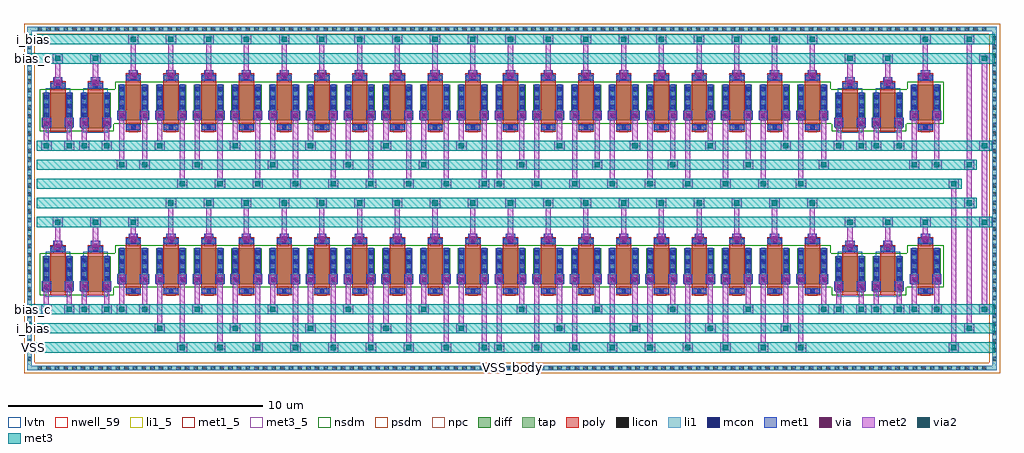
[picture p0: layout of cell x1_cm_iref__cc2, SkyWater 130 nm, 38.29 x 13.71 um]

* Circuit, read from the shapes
.subckt x1_cm_iref__cc2 VSS VSS_body bias_c i_bias
XM1 bias_c bias_c bias_c VSS_body sky130_fd_pr__nfet_01v8_lvt w=1.4 l=0.6 m=8
XM2 bias_c bias_c bias_c VSS_body sky130_fd_pr__nfet_01v8 w=1.4 l=0.6 m=2
XM3 i_bias i_bias i_bias VSS_body sky130_fd_pr__nfet_01v8 w=1.4 l=0.6 m=2
XM4 VSS i_bias i_bias VSS_body sky130_fd_pr__nfet_01v8 w=1.4 l=0.6 m=18
XM5 VSS i_bias bias_c VSS_body sky130_fd_pr__nfet_01v8 w=1.4 l=0.6 m=18
.ends

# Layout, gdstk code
from math import pi, radians
import gdstk
lib = gdstk.Library(unit=1e-6, precision=1e-09)
def R(c, l, rs):  # rectangles x0, y0, x1, y1
    for r in rs: c.add(gdstk.rectangle(r[:2], r[2:], *l))
def A(c, l, x, y, w, h, nx, ny, dx, dy):  # array of equal rectangles
    R(c, l, [(x+i*dx, y+j*dy, x+i*dx+w, y+j*dy+h) for i in range(nx) for j in range(ny)])
nwell_59 = (64, 59)
diff = (65, 20)
tap = (65, 44)
poly = (66, 20)
licon = (66, 44)
li1_5 = (67, 5)
li1 = (67, 20)
mcon = (67, 44)
met1_5 = (68, 5)
met1 = (68, 20)
via = (68, 44)
met2 = (69, 20)
via2 = (69, 44)
met3_5 = (70, 5)
met3 = (70, 20)
nsdm = (93, 44)
psdm = (94, 20)
npc = (95, 20)
lvtn = (125, 44)

sky130_fd_pr__nfet_01v8_ = lib.new_cell('sky130_fd_pr__nfet_01v8_KCM6UP')
R(sky130_fd_pr__nfet_01v8_, diff, [(-0.59,-0.7,0.59,0.7)])
R(sky130_fd_pr__nfet_01v8_, poly, [(-0.3,-1.14,0.3,1.14)])
A(sky130_fd_pr__nfet_01v8_, licon, -0.53, -0.595, 0.17, 0.17, 1, 4, 0, 0.34)
A(sky130_fd_pr__nfet_01v8_, licon, 0.36, -0.595, 0.17, 0.17, 1, 4, 0, 0.34)
R(sky130_fd_pr__nfet_01v8_, licon, [(-0.085,-1.06,0.085,-0.89), (-0.085,0.89,0.085,1.06)])
R(sky130_fd_pr__nfet_01v8_, li1, [(-0.3,-1.06,0.3,-0.89), (-0.53,-0.72,-0.36,0.72), (0.36,-0.72,0.53,0.72), (-0.3,0.89,0.3,1.06)])
A(sky130_fd_pr__nfet_01v8_, mcon, -0.53, -0.625, 0.17, 0.17, 1, 4, 0, 0.36)
A(sky130_fd_pr__nfet_01v8_, mcon, 0.36, -0.625, 0.17, 0.17, 1, 4, 0, 0.36)
R(sky130_fd_pr__nfet_01v8_, mcon, [(-0.085,-1.06,0.085,-0.89), (-0.085,0.89,0.085,1.06)])
R(sky130_fd_pr__nfet_01v8_, met1, [(-0.28,-1.09,0.28,-0.86), (-0.56,-0.7,-0.33,0.7), (0.33,-0.7,0.56,0.7), (-0.28,0.86,0.28,1.09)])
R(sky130_fd_pr__nfet_01v8_, nsdm, [(-0.715,-0.825,0.715,0.825)])
R(sky130_fd_pr__nfet_01v8_, npc, [(-0.185,-1.16,0.185,-0.79), (-0.185,0.79,0.185,1.16)])
sky130_fd_pr__nfet_01v8_.add(gdstk.Label('D', (-0.445,0), layer=67, texttype=5))
sky130_fd_pr__nfet_01v8_.add(gdstk.Label('S', (0.445,0), layer=67, texttype=5))
sky130_fd_pr__nfet_01v8_.add(gdstk.Label('G', (0,0.975), layer=67, texttype=5))

nfet_01v8_w1p4_l0p6_m2__ = lib.new_cell('nfet_01v8_W1p4_L0p6_m2__nf1_gboth_sdfull_ng')
R(nfet_01v8_w1p4_l0p6_m2__, nwell_59, [(0.05,1.09,0.15,1.19)])
R(nfet_01v8_w1p4_l0p6_m2__, met1_5, [(0.03,1.14,0.26,1.34), (0.92,1.14,1.15,1.34), (0.31,2,0.87,2.23)])
R(nfet_01v8_w1p4_l0p6_m2__, met1, [(0.03,1.14,0.26,1.34), (0.92,1.14,1.15,1.34), (0.31,2,0.87,2.23)])
nfet_01v8_w1p4_l0p6_m2__.add(gdstk.Reference(sky130_fd_pr__nfet_01v8_, (0.59,1.14)))
nfet_01v8_w1p4_l0p6_m2__.add(gdstk.Label('D', (0.145,1.24), layer=68, texttype=5))
nfet_01v8_w1p4_l0p6_m2__.add(gdstk.Label('S', (1.035,1.24), layer=68, texttype=5))
nfet_01v8_w1p4_l0p6_m2__.add(gdstk.Label('G', (0.59,2.115), layer=68, texttype=5))
nfet_01v8_w1p4_l0p6_m2__.add(gdstk.Label('B', (0.1,1.14), layer=64, texttype=59))

c_sky130_fd_pr__nfet_01v8_ = lib.new_cell('sky130_fd_pr__nfet_01v8_lvt_RUA5M6')
R(c_sky130_fd_pr__nfet_01v8_, diff, [(-0.59,-0.855,0.59,0.545)])
R(c_sky130_fd_pr__nfet_01v8_, poly, [(-0.3,-0.985,0.3,0.985)])
A(c_sky130_fd_pr__nfet_01v8_, licon, -0.53, -0.75, 0.17, 0.17, 1, 4, 0, 0.34)
A(c_sky130_fd_pr__nfet_01v8_, licon, 0.36, -0.75, 0.17, 0.17, 1, 4, 0, 0.34)
R(c_sky130_fd_pr__nfet_01v8_, licon, [(-0.085,0.735,0.085,0.905)])
R(c_sky130_fd_pr__nfet_01v8_, li1, [(-0.53,-0.875,-0.36,0.565), (0.36,-0.875,0.53,0.565), (-0.3,0.735,0.3,0.905)])
A(c_sky130_fd_pr__nfet_01v8_, mcon, -0.53, -0.78, 0.17, 0.17, 1, 4, 0, 0.36)
A(c_sky130_fd_pr__nfet_01v8_, mcon, 0.36, -0.78, 0.17, 0.17, 1, 4, 0, 0.36)
R(c_sky130_fd_pr__nfet_01v8_, mcon, [(-0.085,0.735,0.085,0.905)])
R(c_sky130_fd_pr__nfet_01v8_, met1, [(-0.56,-0.855,-0.33,0.545), (0.33,-0.855,0.56,0.545), (-0.28,0.705,0.28,0.935)])
R(c_sky130_fd_pr__nfet_01v8_, nsdm, [(-0.715,-0.98,0.715,0.67)])
R(c_sky130_fd_pr__nfet_01v8_, npc, [(-0.185,0.635,0.185,1.005)])
R(c_sky130_fd_pr__nfet_01v8_, lvtn, [(-0.48,-1.035,0.48,0.725)])
c_sky130_fd_pr__nfet_01v8_.add(gdstk.Label('D', (-0.445,-0.155), layer=67, texttype=5))
c_sky130_fd_pr__nfet_01v8_.add(gdstk.Label('S', (0.445,-0.155), layer=67, texttype=5))
c_sky130_fd_pr__nfet_01v8_.add(gdstk.Label('G', (0,0.82), layer=67, texttype=5))

nfet_01v8_lvt_w1p4_l0p6_ = lib.new_cell('nfet_01v8_lvt_W1p4_L0p6_m8__nf1_gtop_sdfull_ng')
R(nfet_01v8_lvt_w1p4_l0p6_, nwell_59, [(0.05,0.78,0.15,0.88)])
R(nfet_01v8_lvt_w1p4_l0p6_, met1_5, [(0.03,0.83,0.26,1.03), (0.92,0.83,1.15,1.03), (0.31,1.69,0.87,1.92)])
R(nfet_01v8_lvt_w1p4_l0p6_, met1, [(0.03,0.83,0.26,1.03), (0.92,0.83,1.15,1.03), (0.31,1.69,0.87,1.92)])
nfet_01v8_lvt_w1p4_l0p6_.add(gdstk.Reference(c_sky130_fd_pr__nfet_01v8_, (0.59,0.985)))
nfet_01v8_lvt_w1p4_l0p6_.add(gdstk.Label('D', (0.145,0.93), layer=68, texttype=5))
nfet_01v8_lvt_w1p4_l0p6_.add(gdstk.Label('S', (1.035,0.93), layer=68, texttype=5))
nfet_01v8_lvt_w1p4_l0p6_.add(gdstk.Label('G', (0.59,1.805), layer=68, texttype=5))
nfet_01v8_lvt_w1p4_l0p6_.add(gdstk.Label('B', (0.1,0.83), layer=64, texttype=59))

nfet_01v8_w1p4_l0p6_m18_ = lib.new_cell('nfet_01v8_W1p4_L0p6_m18__nf1_gboth_sdfull_ng')
R(nfet_01v8_w1p4_l0p6_m18_, nwell_59, [(0.05,1.09,0.15,1.19)])
R(nfet_01v8_w1p4_l0p6_m18_, met1_5, [(0.03,1.14,0.26,1.34), (0.92,1.14,1.15,1.34), (0.31,2,0.87,2.23)])
R(nfet_01v8_w1p4_l0p6_m18_, met1, [(0.03,1.14,0.26,1.34), (0.92,1.14,1.15,1.34), (0.31,2,0.87,2.23)])
nfet_01v8_w1p4_l0p6_m18_.add(gdstk.Reference(sky130_fd_pr__nfet_01v8_, (0.59,1.14)))
nfet_01v8_w1p4_l0p6_m18_.add(gdstk.Label('D', (0.145,1.24), layer=68, texttype=5))
nfet_01v8_w1p4_l0p6_m18_.add(gdstk.Label('S', (1.035,1.24), layer=68, texttype=5))
nfet_01v8_w1p4_l0p6_m18_.add(gdstk.Label('G', (0.59,2.115), layer=68, texttype=5))
nfet_01v8_w1p4_l0p6_m18_.add(gdstk.Label('B', (0.1,1.14), layer=64, texttype=59))

x1_cm_iref__cc2 = lib.new_cell('x1_cm_iref__cc2')
R(x1_cm_iref__cc2, tap, [(-0.485,-2.935,37.555,-2.765), (-0.485,-2.765,-0.315,10.355), (37.385,-2.765,37.555,10.355), (-0.485,10.355,37.555,10.525)])
A(x1_cm_iref__cc2, licon, -0.08, -2.935, 0.17, 0.17, 110, 2, 0.34, 13.29)
A(x1_cm_iref__cc2, licon, -0.485, -2.58, 0.17, 0.17, 1, 38, 0, 0.34)
A(x1_cm_iref__cc2, licon, 37.385, -2.58, 0.17, 0.17, 1, 38, 0, 0.34)
R(x1_cm_iref__cc2, li1_5, [(18.485,-2.9,18.585,-2.8)])
R(x1_cm_iref__cc2, li1, [(-0.485,-2.935,37.555,-2.765), (-0.485,-2.765,-0.315,10.355), (37.385,-2.765,37.555,10.355), (-0.485,10.355,37.555,10.525)])
A(x1_cm_iref__cc2, met1, 3.495, 2.05, 0.36, 0.36, 19, 2, 1.48, 6.42)
R(x1_cm_iref__cc2, met1, [(0.09,0.18,0.45,0.54), (0.98,0.18,1.34,0.54), (1.57,0.18,1.93,0.54), (2.46,0.18,2.82,0.54), (31.17,0.18,31.53,0.54), (32.06,0.18,32.42,0.54), (32.65,0.18,33.01,0.54), (33.54,0.18,33.9,0.54), (3.05,0.46,3.41,0.82), (3.94,0.46,4.3,0.82), (4.53,0.46,4.89,0.82), (5.42,0.46,5.78,0.82), (6.01,0.46,6.37,0.82), (6.9,0.46,7.26,0.82), (7.49,0.46,7.85,0.82), (8.38,0.46,8.74,0.82), (8.97,0.46,9.33,0.82), (9.86,0.46,10.22,0.82), (10.45,0.46,10.81,0.82), (11.34,0.46,11.7,0.82), (11.93,0.46,12.29,0.82), (12.82,0.46,13.18,0.82), (13.41,0.46,13.77,0.82), (14.3,0.46,14.66,0.82), (14.89,0.46,15.25,0.82), (15.78,0.46,16.14,0.82), (16.37,0.46,16.73,0.82), (17.26,0.46,17.62,0.82), (17.85,0.46,18.21,0.82), (18.74,0.46,19.1,0.82), (19.33,0.46,19.69,0.82), (20.22,0.46,20.58,0.82), (20.81,0.46,21.17,0.82), (21.7,0.46,22.06,0.82), (22.29,0.46,22.65,0.82), (23.18,0.46,23.54,0.82), (23.77,0.46,24.13,0.82), (24.66,0.46,25.02,0.82), (25.25,0.46,25.61,0.82), (26.14,0.46,26.5,0.82), (26.73,0.46,27.09,0.82), (27.62,0.46,27.98,0.82), (28.21,0.46,28.57,0.82), (29.1,0.46,29.46,0.82), (29.69,0.46,30.05,0.82), (30.58,0.46,30.94,0.82), (34.13,0.46,34.49,0.82), (35.02,0.46,35.38,0.82), (0.535,1.77,0.895,2.13), (2.015,1.77,2.375,2.13), (31.615,1.77,31.975,2.13), (33.095,1.77,33.455,2.13), (34.575,2.05,34.935,2.41), (0.09,6.6,0.45,6.96), (0.98,6.6,1.34,6.96), (1.57,6.6,1.93,6.96), (2.46,6.6,2.82,6.96), (31.17,6.6,31.53,6.96), (32.06,6.6,32.42,6.96), (32.65,6.6,33.01,6.96), (33.54,6.6,33.9,6.96), (3.05,6.88,3.41,7.24), (3.94,6.88,4.3,7.24), (4.53,6.88,4.89,7.24), (5.42,6.88,5.78,7.24), (6.01,6.88,6.37,7.24), (6.9,6.88,7.26,7.24), (7.49,6.88,7.85,7.24), (8.38,6.88,8.74,7.24), (8.97,6.88,9.33,7.24), (9.86,6.88,10.22,7.24), (10.45,6.88,10.81,7.24), (11.34,6.88,11.7,7.24), (11.93,6.88,12.29,7.24), (12.82,6.88,13.18,7.24), (13.41,6.88,13.77,7.24), (14.3,6.88,14.66,7.24), (14.89,6.88,15.25,7.24), (15.78,6.88,16.14,7.24), (16.37,6.88,16.73,7.24), (17.26,6.88,17.62,7.24), (17.85,6.88,18.21,7.24), (18.74,6.88,19.1,7.24), (19.33,6.88,19.69,7.24), (20.22,6.88,20.58,7.24), (20.81,6.88,21.17,7.24), (21.7,6.88,22.06,7.24), (22.29,6.88,22.65,7.24), (23.18,6.88,23.54,7.24), (23.77,6.88,24.13,7.24), (24.66,6.88,25.02,7.24), (25.25,6.88,25.61,7.24), (26.14,6.88,26.5,7.24), (26.73,6.88,27.09,7.24), (27.62,6.88,27.98,7.24), (28.21,6.88,28.57,7.24), (29.1,6.88,29.46,7.24), (29.69,6.88,30.05,7.24), (30.58,6.88,30.94,7.24), (34.13,6.88,34.49,7.24), (35.02,6.88,35.38,7.24), (0.535,8.19,0.895,8.55), (2.015,8.19,2.375,8.55), (31.615,8.19,31.975,8.55), (33.095,8.19,33.455,8.55), (34.575,8.47,34.935,8.83)])
A(x1_cm_iref__cc2, via, 3.6, 2.155, 0.15, 0.15, 19, 2, 1.48, 6.42)
R(x1_cm_iref__cc2, via, [(0.195,0.285,0.345,0.435), (1.085,0.285,1.235,0.435), (1.675,0.285,1.825,0.435), (2.565,0.285,2.715,0.435), (31.275,0.285,31.425,0.435), (32.165,0.285,32.315,0.435), (32.755,0.285,32.905,0.435), (33.645,0.285,33.795,0.435), (3.155,0.565,3.305,0.715), (4.045,0.565,4.195,0.715), (4.635,0.565,4.785,0.715), (5.525,0.565,5.675,0.715), (6.115,0.565,6.265,0.715), (7.005,0.565,7.155,0.715), (7.595,0.565,7.745,0.715), (8.485,0.565,8.635,0.715), (9.075,0.565,9.225,0.715), (9.965,0.565,10.115,0.715), (10.555,0.565,10.705,0.715), (11.445,0.565,11.595,0.715), (12.035,0.565,12.185,0.715), (12.925,0.565,13.075,0.715), (13.515,0.565,13.665,0.715), (14.405,0.565,14.555,0.715), (14.995,0.565,15.145,0.715), (15.885,0.565,16.035,0.715), (16.475,0.565,16.625,0.715), (17.365,0.565,17.515,0.715), (17.955,0.565,18.105,0.715), (18.845,0.565,18.995,0.715), (19.435,0.565,19.585,0.715), (20.325,0.565,20.475,0.715), (20.915,0.565,21.065,0.715), (21.805,0.565,21.955,0.715), (22.395,0.565,22.545,0.715), (23.285,0.565,23.435,0.715), (23.875,0.565,24.025,0.715), (24.765,0.565,24.915,0.715), (25.355,0.565,25.505,0.715), (26.245,0.565,26.395,0.715), (26.835,0.565,26.985,0.715), (27.725,0.565,27.875,0.715), (28.315,0.565,28.465,0.715), (29.205,0.565,29.355,0.715), (29.795,0.565,29.945,0.715), (30.685,0.565,30.835,0.715), (34.235,0.565,34.385,0.715), (35.125,0.565,35.275,0.715), (0.64,1.875,0.79,2.025), (2.12,1.875,2.27,2.025), (31.72,1.875,31.87,2.025), (33.2,1.875,33.35,2.025), (34.68,2.155,34.83,2.305), (0.195,6.705,0.345,6.855), (1.085,6.705,1.235,6.855), (1.675,6.705,1.825,6.855), (2.565,6.705,2.715,6.855), (31.275,6.705,31.425,6.855), (32.165,6.705,32.315,6.855), (32.755,6.705,32.905,6.855), (33.645,6.705,33.795,6.855), (3.155,6.985,3.305,7.135), (4.045,6.985,4.195,7.135), (4.635,6.985,4.785,7.135), (5.525,6.985,5.675,7.135), (6.115,6.985,6.265,7.135), (7.005,6.985,7.155,7.135), (7.595,6.985,7.745,7.135), (8.485,6.985,8.635,7.135), (9.075,6.985,9.225,7.135), (9.965,6.985,10.115,7.135), (10.555,6.985,10.705,7.135), (11.445,6.985,11.595,7.135), (12.035,6.985,12.185,7.135), (12.925,6.985,13.075,7.135), (13.515,6.985,13.665,7.135), (14.405,6.985,14.555,7.135), (14.995,6.985,15.145,7.135), (15.885,6.985,16.035,7.135), (16.475,6.985,16.625,7.135), (17.365,6.985,17.515,7.135), (17.955,6.985,18.105,7.135), (18.845,6.985,18.995,7.135), (19.435,6.985,19.585,7.135), (20.325,6.985,20.475,7.135), (20.915,6.985,21.065,7.135), (21.805,6.985,21.955,7.135), (22.395,6.985,22.545,7.135), (23.285,6.985,23.435,7.135), (23.875,6.985,24.025,7.135), (24.765,6.985,24.915,7.135), (25.355,6.985,25.505,7.135), (26.245,6.985,26.395,7.135), (26.835,6.985,26.985,7.135), (27.725,6.985,27.875,7.135), (28.315,6.985,28.465,7.135), (29.205,6.985,29.355,7.135), (29.795,6.985,29.945,7.135), (30.685,6.985,30.835,7.135), (34.235,6.985,34.385,7.135), (35.125,6.985,35.275,7.135), (0.64,8.295,0.79,8.445), (2.12,8.295,2.27,8.445), (31.72,8.295,31.87,8.445), (33.2,8.295,33.35,8.445), (34.68,8.575,34.83,8.725)])
A(x1_cm_iref__cc2, met2, 5.4, -2.25, 0.4, 0.4, 9, 2, 1.48, 6.42)
A(x1_cm_iref__cc2, met2, 17.83, -2.25, 0.4, 0.4, 9, 2, 1.48, 6.42)
A(x1_cm_iref__cc2, met2, 5.5, -1.85, 0.2, 2.33, 9, 2, 1.48, 6.42)
A(x1_cm_iref__cc2, met2, 17.93, -1.85, 0.2, 2.33, 9, 2, 1.48, 6.42)
A(x1_cm_iref__cc2, met2, 4.51, -1.5, 0.4, 0.4, 5, 2, 2.96, 7.17)
A(x1_cm_iref__cc2, met2, 20.2, -1.5, 0.4, 0.4, 4, 2, 2.96, 7.17)
A(x1_cm_iref__cc2, met2, 4.61, -1.1, 0.2, 1.58, 5, 1, 2.96, 0)
A(x1_cm_iref__cc2, met2, 20.3, -1.1, 0.2, 1.58, 4, 1, 2.96, 0)
A(x1_cm_iref__cc2, met2, 5.99, -0.75, 0.4, 0.4, 4, 2, 2.96, 5.67)
A(x1_cm_iref__cc2, met2, 18.72, -0.75, 0.4, 0.4, 5, 2, 2.96, 5.67)
A(x1_cm_iref__cc2, met2, 6.09, -0.35, 0.2, 0.83, 4, 1, 2.96, 0)
A(x1_cm_iref__cc2, met2, 18.82, -0.35, 0.2, 0.83, 5, 1, 2.96, 0)
A(x1_cm_iref__cc2, met2, 3.545, 2.07, 0.26, 0.32, 19, 2, 1.48, 6.42)
A(x1_cm_iref__cc2, met2, 5.055, 2.39, 0.2, 1.03, 18, 1, 1.48, 0)
A(x1_cm_iref__cc2, met2, 0.515, 2.67, 0.4, 0.4, 3, 1, 1.48, 0)
A(x1_cm_iref__cc2, met2, 31.595, 2.67, 0.4, 0.4, 3, 1, 1.48, 0)
A(x1_cm_iref__cc2, met2, 4.955, 3.42, 0.4, 0.4, 18, 1, 1.48, 0)
A(x1_cm_iref__cc2, met2, 6.09, 5.32, 0.2, 1.58, 4, 1, 2.96, 0)
A(x1_cm_iref__cc2, met2, 18.82, 5.32, 0.2, 1.58, 5, 1, 2.96, 0)
A(x1_cm_iref__cc2, met2, 4.61, 6.07, 0.2, 0.83, 5, 1, 2.96, 0)
A(x1_cm_iref__cc2, met2, 20.3, 6.07, 0.2, 0.83, 4, 1, 2.96, 0)
A(x1_cm_iref__cc2, met2, 3.575, 8.81, 0.2, 1.03, 19, 1, 1.48, 0)
A(x1_cm_iref__cc2, met2, 3.475, 9.84, 0.4, 0.4, 19, 1, 1.48, 0)
R(x1_cm_iref__cc2, met2, [(35.67,-2.25,36.07,-1.85), (35.77,-1.85,35.97,4.17), (36.27,-1.5,36.67,-1.1), (36.37,-1.1,36.57,3.42), (0.07,-0.75,0.47,-0.35), (0.96,-0.75,1.36,-0.35), (1.55,-0.75,1.95,-0.35), (2.44,-0.75,2.84,-0.35), (3.03,-0.75,3.43,-0.35), (3.92,-0.75,4.32,-0.35), (31.15,-0.75,31.55,-0.35), (32.04,-0.75,32.44,-0.35), (32.63,-0.75,33.03,-0.35), (33.52,-0.75,33.92,-0.35), (34.11,-0.75,34.51,-0.35), (35,-0.75,35.4,-0.35), (36.87,-0.75,37.27,-0.35), (0.17,-0.35,0.37,0.2), (1.06,-0.35,1.26,0.2), (1.65,-0.35,1.85,0.2), (2.54,-0.35,2.74,0.2), (3.13,-0.35,3.33,0.48), (4.02,-0.35,4.22,0.48), (31.25,-0.35,31.45,0.2), (32.14,-0.35,32.34,0.2), (32.73,-0.35,32.93,0.2), (33.62,-0.35,33.82,0.2), (34.21,-0.35,34.41,0.48), (35.1,-0.35,35.3,0.48), (36.97,-0.35,37.17,2.67), (0.14,0.2,0.4,0.52), (1.03,0.2,1.29,0.52), (1.62,0.2,1.88,0.52), (2.51,0.2,2.77,0.52), (31.22,0.2,31.48,0.52), (32.11,0.2,32.37,0.52), (32.7,0.2,32.96,0.52), (33.59,0.2,33.85,0.52), (3.1,0.48,3.36,0.8), (3.99,0.48,4.25,0.8), (4.58,0.48,4.84,0.8), (5.47,0.48,5.73,0.8), (6.06,0.48,6.32,0.8), (6.95,0.48,7.21,0.8), (7.54,0.48,7.8,0.8), (8.43,0.48,8.69,0.8), (9.02,0.48,9.28,0.8), (9.91,0.48,10.17,0.8), (10.5,0.48,10.76,0.8), (11.39,0.48,11.65,0.8), (11.98,0.48,12.24,0.8), (12.87,0.48,13.13,0.8), (13.46,0.48,13.72,0.8), (14.35,0.48,14.61,0.8), (14.94,0.48,15.2,0.8), (15.83,0.48,16.09,0.8), (16.42,0.48,16.68,0.8), (17.31,0.48,17.57,0.8), (17.9,0.48,18.16,0.8), (18.79,0.48,19.05,0.8), (19.38,0.48,19.64,0.8), (20.27,0.48,20.53,0.8), (20.86,0.48,21.12,0.8), (21.75,0.48,22.01,0.8), (22.34,0.48,22.6,0.8), (23.23,0.48,23.49,0.8), (23.82,0.48,24.08,0.8), (24.71,0.48,24.97,0.8), (25.3,0.48,25.56,0.8), (26.19,0.48,26.45,0.8), (26.78,0.48,27.04,0.8), (27.67,0.48,27.93,0.8), (28.26,0.48,28.52,0.8), (29.15,0.48,29.41,0.8), (29.74,0.48,30,0.8), (30.63,0.48,30.89,0.8), (34.18,0.48,34.44,0.8), (35.07,0.48,35.33,0.8), (0.585,1.79,0.845,2.11), (2.065,1.79,2.325,2.11), (31.665,1.79,31.925,2.11), (33.145,1.79,33.405,2.11), (34.625,2.07,34.885,2.39), (0.615,2.11,0.815,2.67), (2.095,2.11,2.295,2.67), (31.695,2.11,31.895,2.67), (33.175,2.11,33.375,2.67), (3.575,2.39,3.775,2.67), (34.655,2.39,34.855,2.67), (36.87,2.67,37.27,3.07), (36.97,3.07,37.17,5.67), (36.27,3.42,36.67,3.82), (36.37,3.82,36.57,4.92), (35.67,4.17,36.07,4.57), (3.03,4.92,3.43,5.32), (3.92,4.92,4.32,5.32), (34.11,4.92,34.51,5.32), (35,4.92,35.4,5.32), (36.27,4.92,36.67,5.32), (3.13,5.32,3.33,6.9), (4.02,5.32,4.22,6.9), (34.21,5.32,34.41,6.9), (35.1,5.32,35.3,6.9), (36.37,5.32,36.57,9.84), (0.07,5.67,0.47,6.07), (0.96,5.67,1.36,6.07), (1.55,5.67,1.95,6.07), (2.44,5.67,2.84,6.07), (31.15,5.67,31.55,6.07), (32.04,5.67,32.44,6.07), (32.63,5.67,33.03,6.07), (33.52,5.67,33.92,6.07), (36.87,5.67,37.27,6.07), (0.17,6.07,0.37,6.62), (1.06,6.07,1.26,6.62), (1.65,6.07,1.85,6.62), (2.54,6.07,2.74,6.62), (31.25,6.07,31.45,6.62), (32.14,6.07,32.34,6.62), (32.73,6.07,32.93,6.62), (33.62,6.07,33.82,6.62), (36.97,6.07,37.17,9.09), (0.14,6.62,0.4,6.94), (1.03,6.62,1.29,6.94), (1.62,6.62,1.88,6.94), (2.51,6.62,2.77,6.94), (31.22,6.62,31.48,6.94), (32.11,6.62,32.37,6.94), (32.7,6.62,32.96,6.94), (33.59,6.62,33.85,6.94), (3.1,6.9,3.36,7.22), (3.99,6.9,4.25,7.22), (4.58,6.9,4.84,7.22), (5.47,6.9,5.73,7.22), (6.06,6.9,6.32,7.22), (6.95,6.9,7.21,7.22), (7.54,6.9,7.8,7.22), (8.43,6.9,8.69,7.22), (9.02,6.9,9.28,7.22), (9.91,6.9,10.17,7.22), (10.5,6.9,10.76,7.22), (11.39,6.9,11.65,7.22), (11.98,6.9,12.24,7.22), (12.87,6.9,13.13,7.22), (13.46,6.9,13.72,7.22), (14.35,6.9,14.61,7.22), (14.94,6.9,15.2,7.22), (15.83,6.9,16.09,7.22), (16.42,6.9,16.68,7.22), (17.31,6.9,17.57,7.22), (17.9,6.9,18.16,7.22), (18.79,6.9,19.05,7.22), (19.38,6.9,19.64,7.22), (20.27,6.9,20.53,7.22), (20.86,6.9,21.12,7.22), (21.75,6.9,22.01,7.22), (22.34,6.9,22.6,7.22), (23.23,6.9,23.49,7.22), (23.82,6.9,24.08,7.22), (24.71,6.9,24.97,7.22), (25.3,6.9,25.56,7.22), (26.19,6.9,26.45,7.22), (26.78,6.9,27.04,7.22), (27.67,6.9,27.93,7.22), (28.26,6.9,28.52,7.22), (29.15,6.9,29.41,7.22), (29.74,6.9,30,7.22), (30.63,6.9,30.89,7.22), (34.18,6.9,34.44,7.22), (35.07,6.9,35.33,7.22), (0.585,8.21,0.845,8.53), (2.065,8.21,2.325,8.53), (31.665,8.21,31.925,8.53), (33.145,8.21,33.405,8.53), (34.625,8.49,34.885,8.81), (0.615,8.53,0.815,9.09), (2.095,8.53,2.295,9.09), (31.695,8.53,31.895,9.09), (33.175,8.53,33.375,9.09), (34.655,8.81,34.855,9.84), (0.515,9.09,0.915,9.49), (1.995,9.09,2.395,9.49), (31.595,9.09,31.995,9.49), (33.075,9.09,33.475,9.49), (36.87,9.09,37.27,9.49), (34.555,9.84,34.955,10.24), (36.27,9.84,36.67,10.24)])
A(x1_cm_iref__cc2, via2, 5.5, -2.15, 0.2, 0.2, 9, 2, 1.48, 6.42)
A(x1_cm_iref__cc2, via2, 17.93, -2.15, 0.2, 0.2, 9, 2, 1.48, 6.42)
A(x1_cm_iref__cc2, via2, 4.61, -1.4, 0.2, 0.2, 5, 2, 2.96, 7.17)
A(x1_cm_iref__cc2, via2, 20.3, -1.4, 0.2, 0.2, 4, 2, 2.96, 7.17)
A(x1_cm_iref__cc2, via2, 6.09, -0.65, 0.2, 0.2, 4, 2, 2.96, 5.67)
A(x1_cm_iref__cc2, via2, 18.82, -0.65, 0.2, 0.2, 5, 2, 2.96, 5.67)
A(x1_cm_iref__cc2, via2, 0.615, 2.77, 0.2, 0.2, 3, 1, 1.48, 0)
A(x1_cm_iref__cc2, via2, 31.695, 2.77, 0.2, 0.2, 3, 1, 1.48, 0)
A(x1_cm_iref__cc2, via2, 5.055, 3.52, 0.2, 0.2, 18, 1, 1.48, 0)
A(x1_cm_iref__cc2, via2, 3.575, 9.94, 0.2, 0.2, 19, 1, 1.48, 0)
R(x1_cm_iref__cc2, via2, [(35.77,-2.15,35.97,-1.95), (36.37,-1.4,36.57,-1.2), (0.17,-0.65,0.37,-0.45), (1.06,-0.65,1.26,-0.45), (1.65,-0.65,1.85,-0.45), (2.54,-0.65,2.74,-0.45), (3.13,-0.65,3.33,-0.45), (4.02,-0.65,4.22,-0.45), (31.25,-0.65,31.45,-0.45), (32.14,-0.65,32.34,-0.45), (32.73,-0.65,32.93,-0.45), (33.62,-0.65,33.82,-0.45), (34.21,-0.65,34.41,-0.45), (35.1,-0.65,35.3,-0.45), (36.97,-0.65,37.17,-0.45), (36.97,2.77,37.17,2.97), (36.37,3.52,36.57,3.72), (35.77,4.27,35.97,4.47), (3.13,5.02,3.33,5.22), (4.02,5.02,4.22,5.22), (34.21,5.02,34.41,5.22), (35.1,5.02,35.3,5.22), (36.37,5.02,36.57,5.22), (0.17,5.77,0.37,5.97), (1.06,5.77,1.26,5.97), (1.65,5.77,1.85,5.97), (2.54,5.77,2.74,5.97), (31.25,5.77,31.45,5.97), (32.14,5.77,32.34,5.97), (32.73,5.77,32.93,5.97), (33.62,5.77,33.82,5.97), (36.97,5.77,37.17,5.97), (0.615,9.19,0.815,9.39), (2.095,9.19,2.295,9.39), (31.695,9.19,31.895,9.39), (33.175,9.19,33.375,9.39), (36.97,9.19,37.17,9.39), (34.655,9.94,34.855,10.14), (36.37,9.94,36.57,10.14)])
A(x1_cm_iref__cc2, met3_5, -0.3, -2.1, 0.1, 0.1, 1, 3, 0, 0.75)
R(x1_cm_iref__cc2, met3_5, [(-0.3,9.24,-0.2,9.34), (-0.3,9.99,-0.2,10.09)])
A(x1_cm_iref__cc2, met3, -0.4, -2.25, 37.87, 0.4, 1, 3, 0, 0.75)
R(x1_cm_iref__cc2, met3, [(-0.1,2.67,37.37,3.07), (-0.1,3.42,36.77,3.82), (-0.1,4.17,36.17,4.57), (-0.1,4.92,36.77,5.32), (-0.1,5.67,37.37,6.07), (-0.4,9.09,37.47,9.49), (-0.4,9.84,37.47,10.24)])
A(x1_cm_iref__cc2, nsdm, 4.395, 0.315, 0.05, 1.65, 18, 2, 1.48, 6.42)
R(x1_cm_iref__cc2, nsdm, [(1.435,0.005,1.485,1.655), (32.515,0.005,32.565,1.655), (2.915,0.315,2.965,1.655), (31.035,0.315,31.085,1.655), (33.995,0.315,34.045,1.655), (1.435,6.425,1.485,8.075), (32.515,6.425,32.565,8.075), (2.915,6.735,2.965,8.075), (31.035,6.735,31.085,8.075), (33.995,6.735,34.045,8.075)])
R(x1_cm_iref__cc2, psdm, [(-0.61,-3.06,37.68,-2.64), (-0.61,-2.64,-0.19,10.23), (37.26,-2.64,37.68,10.23), (-0.61,10.23,37.68,10.65)])
x1_cm_iref__cc2.add(gdstk.Reference(nfet_01v8_w1p4_l0p6_m2__, (34.17,6.42)))
x1_cm_iref__cc2.add(gdstk.Reference(nfet_01v8_lvt_w1p4_l0p6_, (32.69,6.42)))
x1_cm_iref__cc2.add(gdstk.Reference(nfet_01v8_lvt_w1p4_l0p6_, (31.21,6.42)))
x1_cm_iref__cc2.add(gdstk.Reference(nfet_01v8_w1p4_l0p6_m18_, (30.91,6.42), rotation=pi, x_reflection=True))
x1_cm_iref__cc2.add(gdstk.Reference(nfet_01v8_w1p4_l0p6_m18_, (29.43,6.42), rotation=pi, x_reflection=True))
x1_cm_iref__cc2.add(gdstk.Reference(nfet_01v8_w1p4_l0p6_m18_, (27.95,6.42), rotation=pi, x_reflection=True))
x1_cm_iref__cc2.add(gdstk.Reference(nfet_01v8_w1p4_l0p6_m18_, (26.47,6.42), rotation=pi, x_reflection=True))
x1_cm_iref__cc2.add(gdstk.Reference(nfet_01v8_w1p4_l0p6_m18_, (24.99,6.42), rotation=pi, x_reflection=True))
x1_cm_iref__cc2.add(gdstk.Reference(nfet_01v8_w1p4_l0p6_m18_, (23.51,6.42), rotation=pi, x_reflection=True))
x1_cm_iref__cc2.add(gdstk.Reference(nfet_01v8_w1p4_l0p6_m18_, (22.03,6.42), rotation=pi, x_reflection=True))
x1_cm_iref__cc2.add(gdstk.Reference(nfet_01v8_w1p4_l0p6_m18_, (20.55,6.42), rotation=pi, x_reflection=True))
x1_cm_iref__cc2.add(gdstk.Reference(nfet_01v8_w1p4_l0p6_m18_, (19.07,6.42), rotation=pi, x_reflection=True))
x1_cm_iref__cc2.add(gdstk.Reference(nfet_01v8_w1p4_l0p6_m18_, (16.41,6.42)))
x1_cm_iref__cc2.add(gdstk.Reference(nfet_01v8_w1p4_l0p6_m18_, (14.93,6.42)))
x1_cm_iref__cc2.add(gdstk.Reference(nfet_01v8_w1p4_l0p6_m18_, (13.45,6.42)))
x1_cm_iref__cc2.add(gdstk.Reference(nfet_01v8_w1p4_l0p6_m18_, (11.97,6.42)))
x1_cm_iref__cc2.add(gdstk.Reference(nfet_01v8_w1p4_l0p6_m18_, (10.49,6.42)))
x1_cm_iref__cc2.add(gdstk.Reference(nfet_01v8_w1p4_l0p6_m18_, (9.01,6.42)))
x1_cm_iref__cc2.add(gdstk.Reference(nfet_01v8_w1p4_l0p6_m18_, (7.53,6.42)))
x1_cm_iref__cc2.add(gdstk.Reference(nfet_01v8_w1p4_l0p6_m18_, (6.05,6.42)))
x1_cm_iref__cc2.add(gdstk.Reference(nfet_01v8_w1p4_l0p6_m18_, (4.57,6.42)))
x1_cm_iref__cc2.add(gdstk.Reference(nfet_01v8_w1p4_l0p6_m2__, (3.09,6.42)))
x1_cm_iref__cc2.add(gdstk.Reference(nfet_01v8_lvt_w1p4_l0p6_, (1.61,6.42)))
x1_cm_iref__cc2.add(gdstk.Reference(nfet_01v8_lvt_w1p4_l0p6_, (0.13,6.42)))
x1_cm_iref__cc2.add(gdstk.Reference(nfet_01v8_w1p4_l0p6_m2__, (34.17,0)))
x1_cm_iref__cc2.add(gdstk.Reference(nfet_01v8_lvt_w1p4_l0p6_, (32.69,0)))
x1_cm_iref__cc2.add(gdstk.Reference(nfet_01v8_lvt_w1p4_l0p6_, (31.21,0)))
x1_cm_iref__cc2.add(gdstk.Reference(nfet_01v8_w1p4_l0p6_m18_, (30.91,0), rotation=pi, x_reflection=True))
x1_cm_iref__cc2.add(gdstk.Reference(nfet_01v8_w1p4_l0p6_m18_, (29.43,0), rotation=pi, x_reflection=True))
x1_cm_iref__cc2.add(gdstk.Reference(nfet_01v8_w1p4_l0p6_m18_, (27.95,0), rotation=pi, x_reflection=True))
x1_cm_iref__cc2.add(gdstk.Reference(nfet_01v8_w1p4_l0p6_m18_, (26.47,0), rotation=pi, x_reflection=True))
x1_cm_iref__cc2.add(gdstk.Reference(nfet_01v8_w1p4_l0p6_m18_, (24.99,0), rotation=pi, x_reflection=True))
x1_cm_iref__cc2.add(gdstk.Reference(nfet_01v8_w1p4_l0p6_m18_, (23.51,0), rotation=pi, x_reflection=True))
x1_cm_iref__cc2.add(gdstk.Reference(nfet_01v8_w1p4_l0p6_m18_, (22.03,0), rotation=pi, x_reflection=True))
x1_cm_iref__cc2.add(gdstk.Reference(nfet_01v8_w1p4_l0p6_m18_, (20.55,0), rotation=pi, x_reflection=True))
x1_cm_iref__cc2.add(gdstk.Reference(nfet_01v8_w1p4_l0p6_m18_, (19.07,0), rotation=pi, x_reflection=True))
x1_cm_iref__cc2.add(gdstk.Reference(nfet_01v8_w1p4_l0p6_m18_, (16.41,0)))
x1_cm_iref__cc2.add(gdstk.Reference(nfet_01v8_w1p4_l0p6_m18_, (14.93,0)))
x1_cm_iref__cc2.add(gdstk.Reference(nfet_01v8_w1p4_l0p6_m18_, (13.45,0)))
x1_cm_iref__cc2.add(gdstk.Reference(nfet_01v8_w1p4_l0p6_m18_, (11.97,0)))
x1_cm_iref__cc2.add(gdstk.Reference(nfet_01v8_w1p4_l0p6_m18_, (10.49,0)))
x1_cm_iref__cc2.add(gdstk.Reference(nfet_01v8_w1p4_l0p6_m18_, (9.01,0)))
x1_cm_iref__cc2.add(gdstk.Reference(nfet_01v8_w1p4_l0p6_m18_, (7.53,0)))
x1_cm_iref__cc2.add(gdstk.Reference(nfet_01v8_w1p4_l0p6_m18_, (6.05,0)))
x1_cm_iref__cc2.add(gdstk.Reference(nfet_01v8_w1p4_l0p6_m18_, (4.57,0)))
x1_cm_iref__cc2.add(gdstk.Reference(nfet_01v8_w1p4_l0p6_m2__, (3.09,0)))
x1_cm_iref__cc2.add(gdstk.Reference(nfet_01v8_lvt_w1p4_l0p6_, (1.61,0)))
x1_cm_iref__cc2.add(gdstk.Reference(nfet_01v8_lvt_w1p4_l0p6_, (0.13,0)))
x1_cm_iref__cc2.add(gdstk.Label('bias_c', (-0.25,9.29), layer=70, texttype=5))
x1_cm_iref__cc2.add(gdstk.Label('i_bias', (-0.25,10.04), layer=70, texttype=5))
x1_cm_iref__cc2.add(gdstk.Label('bias_c', (-0.25,-0.55), layer=70, texttype=5))
x1_cm_iref__cc2.add(gdstk.Label('i_bias', (-0.25,-1.3), layer=70, texttype=5))
x1_cm_iref__cc2.add(gdstk.Label('VSS', (-0.25,-2.05), layer=70, texttype=5))
x1_cm_iref__cc2.add(gdstk.Label('VSS_body', (18.535,-2.85), layer=67, texttype=5))

lib.write_gds('x1_cm_iref__cc2.gds')
